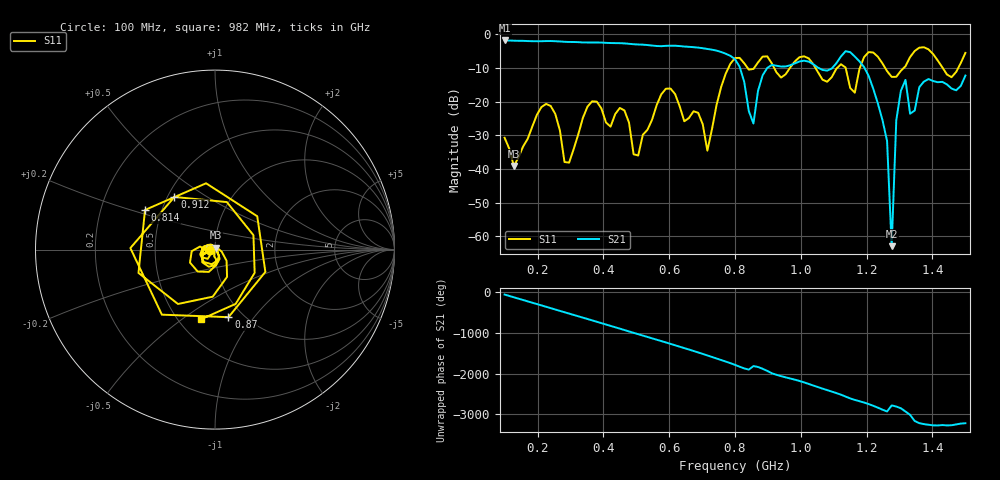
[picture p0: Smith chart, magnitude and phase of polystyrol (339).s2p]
! NanoVNA-App
! Date: 2025-09-25 15:32:32
! Start: 100MHz Stop: 1,5GHz Points: 101
! S-Parameter data: F S11 S21 S12 S22
# Hz S RI R 50
!  Frequency  S11_Real  S11_Imag  S21_Real  S21_Imag  S12_Real  S12_Imag  S22_Real  S22_Imag
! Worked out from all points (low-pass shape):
!   101 points, 100 MHz to 1.5 GHz, reference 50 ohm
!   highest |S21| = -1.80 dB at 100 MHz (marker M1); lowest = -62.9 dB at 1.276 GHz (marker M2)
!   |S21| within 3 dB of the highest: start of sweep to 742.8 MHz
!   lowest |S11| = -39.1 dB at 128 MHz (marker M3), VSWR 1.02, Z = 50.3 + j1.06 ohm
!   |S11| at or under -10 dB: start of sweep to 779.8 MHz; 1.045 GHz to 1.11 GHz (65.44 MHz wide, 6.07 % of centre); 1.256 GHz to 1.312 GHz (55.86 MHz wide, 4.35 % of centre) (the widest 3 of 7)
!   S12 and S22 are empty: the file has one direction only
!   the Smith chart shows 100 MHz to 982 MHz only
!   S11 on the Smith chart (normalised r, x): 100 MHz: 0.94, -0.01; 814 MHz: 0.40, +0.22; 870 MHz: 0.85, -0.76; 912 MHz: 0.54, +0.37; 982 MHz: 0.64, -0.59
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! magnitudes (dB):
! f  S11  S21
! 100 MHz  -30.7  -1.8
! 128 MHz  -39.1  -1.9
! 212 MHz  -21.6  -2.0
! 282 MHz  -37.9  -2.2
! 338 MHz  -24.7  -2.4
! 506 MHz  -36.0  -3.0
! 576 MHz  -17.8  -3.5
! 716 MHz  -34.5  -4.3
! 800 MHz  -7.0  -7.4
! 814 MHz  -7.0  -9.6
! 856 MHz  -10.3  -26.5
! 870 MHz  -8.3  -16.7
! 912 MHz  -8.6  -9.1
! 982 MHz  -8.0  -8.6
! 1.038 GHz  -8.9  -8.9
! 1.164 GHz  -17.3  -6.6
! 1.206 GHz  -5.3  -12.3
! 1.262 GHz  -10.9  -31.6
! 1.276 GHz  -12.6  -62.9
! 1.29 GHz  -12.6  -25.5
! 1.318 GHz  -9.5  -13.5
! 1.5 GHz  -5.5  -12.2
